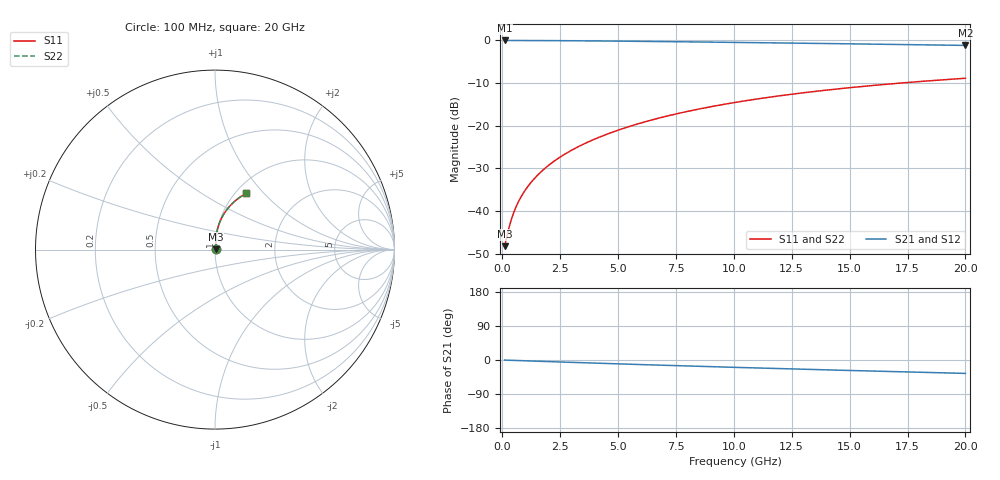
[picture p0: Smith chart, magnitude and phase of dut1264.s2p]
! Touchstone file exported from HFSS 2024.1.0
!  File:  C:/UserFiles/LocalFiles/RDL_TSV_Batchsim/temp_RDL_top_1264_1780241904.aedt
!  Generated:  11:40:57 PM May 31, 2026
!  Design:  RDL_top
!  Project:  temp_RDL_top_1264_1780241904
!  Setup:  Setup1
!  Solution:  Sweep
! Variables:
!  dtsv = 10.80580581um
!  hbump = 3um
!  htsv = 52.61um
!  ldown = 100um
!  lrdl = 461.93um
!  p = 40
!  p1 = 53.81um
!  rhole = 1um
!  t = 450um
!  tdown = 3.915915916um
!  trdl = 2.35um
!  wdown = 15.38538539um
!  wrdl = 22.42um
# GHz S MA R 50.000000
! Terminal data exported
! Port[1] = Box2_T1
! Port[2] = Box2_T2
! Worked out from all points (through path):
!   200 points, 100 MHz to 20 GHz, reference 50 ohm
!   highest |S21| = -0.03 dB at 100 MHz (marker M1); lowest = -1.2 dB at 20 GHz (marker M2)
!   group delay of S21, straight-line fit = 4.87 ps
!   lowest |S11| = -48.2 dB at 100 MHz (marker M3), VSWR 1.01, Z = 50.3 + j0.187 ohm
!   |S11| at or under -10 dB: start of sweep to 17.22 GHz
!   |S22| runs from -48.2 to -8.9 dB; largest |S21 - S12| = 2.6e-15
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0.1  0.003881 28.5  0.9966 -0.2  0.9966 -0.2  0.003881 28.5
! Gamma 0 0 0 0
! Port Impedance 50 0 50 0
0.3  0.006549 56.5  0.9963 -0.7  0.9963 -0.7  0.006549 56.5
0.4  0.008117 62.6  0.9961 -0.9  0.9961 -0.9  0.008117 62.6
0.5  0.00971 66.6  0.9959 -1.1  0.9959 -1.1  0.00971 66.6
0.6  0.01131 69.4  0.9958 -1.3  0.9958 -1.3  0.01131 69.4
0.8  0.01452 73.4  0.9954 -1.7  0.9954 -1.7  0.01452 73.4
1  0.01775 76.1  0.995 -2.1  0.995 -2.1  0.01775 76.1
1.2  0.021 78.0  0.9946 -2.6  0.9946 -2.6  0.021 78.0
1.4  0.02429 79.4  0.9941 -3.0  0.9941 -3.0  0.02429 79.4
1.7  0.02929 81.0  0.9934 -3.6  0.9934 -3.6  0.02929 81.0
2.2  0.03777 82.7  0.9919 -4.6  0.9919 -4.6  0.03777 82.7
2.8  0.04821 83.9  0.9897 -5.8  0.9897 -5.8  0.04821 83.9
3.5  0.06073 84.5  0.9867 -7.3  0.9867 -7.3  0.06072 84.5
4.2  0.07359 84.6  0.9832 -8.7  0.9832 -8.7  0.07358 84.6
5  0.08864 84.2  0.9789 -10.2  0.9789 -10.2  0.08864 84.2
5.9  0.106 83.5  0.9735 -11.9  0.9735 -11.9  0.1059 83.5
6.8  0.1235 82.5  0.9679 -13.6  0.9679 -13.6  0.1235 82.5
8.4  0.155 80.2  0.9573 -16.5  0.9573 -16.5  0.155 80.2
10.1  0.1882 77.5  0.9455 -19.5  0.9455 -19.5  0.1882 77.5
13.4  0.2503 71.8  0.9217 -25.1  0.9217 -25.1  0.2503 71.8
16.7  0.3077 66.1  0.8971 -30.3  0.8971 -30.3  0.3076 66.1
20  0.3595 60.8  0.872 -35.4  0.872 -35.4  0.3594 60.8
